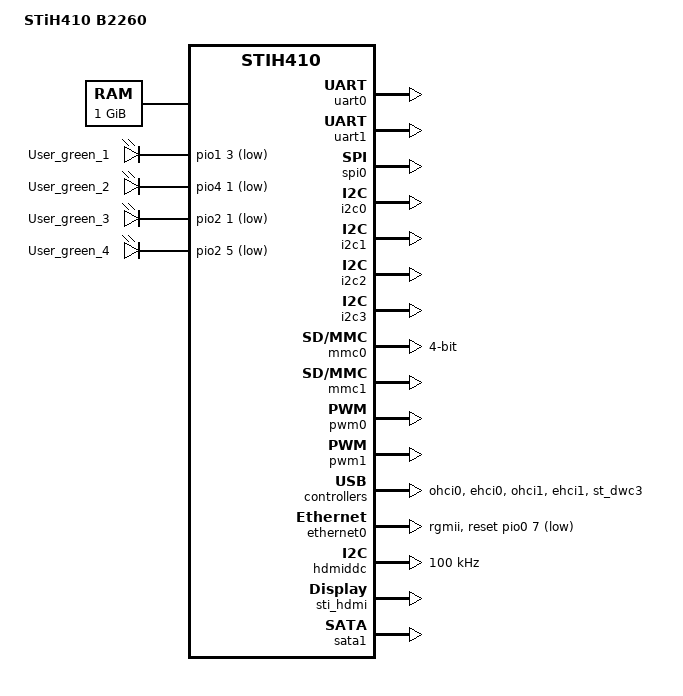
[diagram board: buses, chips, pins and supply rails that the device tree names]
/*
 * Copyright (C) 2016 STMicroelectronics (R&D) Limited.
 * Author: Patrice Chotard <patrice.chotard@st.com>
 *
 * This program is free software; you can redistribute it and/or modify
 * it under the terms of the GNU General Public License version 2 as
 * published by the Free Software Foundation.
 */
/dts-v1/;
#include "stih410.dtsi"
#include <dt-bindings/gpio/gpio.h>

/ {
	model = "STiH410 B2260";
	compatible = "st,stih410-b2260", "st,stih410";

	chosen {
		bootargs = "console=ttyAS1,115200 clk_ignore_unused";
		linux,stdout-path = &uart1;
	};

	memory {
		device_type = "memory";
		reg = <0x40000000 0x40000000>;
	};

	aliases {
		ttyAS1 = &uart1;
		ethernet0 = &ethernet0;
	};

	soc {

		leds {
			compatible = "gpio-leds";
			user_green_1 {
				label = "User_green_1";
				gpios = <&pio1 3 GPIO_ACTIVE_LOW>;
				linux,default-trigger = "heartbeat";
				default-state = "off";
			};

			user_green_2 {
				label = "User_green_2";
				gpios = <&pio4 1 GPIO_ACTIVE_LOW>;
				default-state = "off";
			};

			user_green_3 {
				label = "User_green_3";
				gpios = <&pio2 1 GPIO_ACTIVE_LOW>;
				default-state = "off";
			};

			user_green_4 {
				label = "User_green_4";
				gpios = <&pio2 5 GPIO_ACTIVE_LOW>;
				default-state = "off";
			};
		};

		/* Low speed expansion connector */
		uart0: serial@9830000 {
			label = "LS-UART0";
			status = "okay";
		};

		/* Low speed expansion connector */
		uart1: serial@9831000 {
			label = "LS-UART1";
			status = "okay";
		};

		/* Low speed expansion connector */
		spi0: spi@9844000 {
			label = "LS-SPI0";
			cs-gpio = <&pio30 3 0>;
			status = "okay";
		};

		/* Low speed expansion connector */
		i2c0: i2c@9840000 {
			label = "LS-I2C0";
			status = "okay";
		};

		/* Low speed expansion connector */
		i2c1: i2c@9841000 {
			label = "LS-I2C1";
			status = "okay";
		};

		/* high speed expansion connector */
		i2c2: i2c@9842000 {
			label = "HS-I2C2";
			pinctrl-0 = <&pinctrl_i2c2_alt2_1>;
			status = "okay";
		};

		/* high speed expansion connector */
		i2c3: i2c@9843000 {
			label = "HS-I2C3";
			pinctrl-0 = <&pinctrl_i2c3_alt3_0>;
			status = "okay";
		};

		mmc0: sdhci@09060000 {
			pinctrl-0 = <&pinctrl_sd0>;
			bus-width = <4>;
			status = "okay";
		};

		/* high speed expansion connector */
		mmc1: sdhci@09080000 {
			status = "okay";
		};

		pwm0: pwm@9810000 {
			status = "okay";
		};

		pwm1: pwm@9510000 {
			status = "okay";
		};

		usb2_picophy1: phy2 {
			status = "okay";
		};

		usb2_picophy2: phy3 {
			status = "okay";
		};

		ohci0: usb@9a03c00 {
			status = "okay";
		};

		ehci0: usb@9a03e00 {
			status = "okay";
		};

		ohci1: usb@9a83c00 {
			status = "okay";
		};

		ehci1: usb@9a83e00 {
			status = "okay";
		};

		st_dwc3: dwc3@8f94000 {
			status = "okay";
		};

		ethernet0: dwmac@9630000 {
			phy-mode = "rgmii";
			pinctrl-0 = <&pinctrl_rgmii1 &pinctrl_rgmii1_mdio_1>;

			snps,phy-bus-name = "stmmac";
			snps,phy-bus-id = <0>;
			snps,phy-addr = <0>;
			snps,reset-gpio = <&pio0 7 0>;
			snps,reset-active-low;
			snps,reset-delays-us = <0 10000 1000000>;

			status = "okay";
		};

		/* SSC11 to HDMI */
		hdmiddc: i2c@9541000 {
			/* HDMI V1.3a supports Standard mode only */
			clock-frequency = <100000>;
			st,i2c-min-scl-pulse-width-us = <0>;
			st,i2c-min-sda-pulse-width-us = <5>;
			status = "okay";
		};

		sti-display-subsystem {
			sti_hdmi: sti-hdmi@8d04000 {
				status = "okay";
			};
		};

		miphy28lp_phy: miphy28lp@9b22000 {

			phy_port1: port@9b2a000 {
				st,osc-force-ext;
			};
		};

		sata1: sata@9b28000 {
			status = "okay";
		};
	};
};
